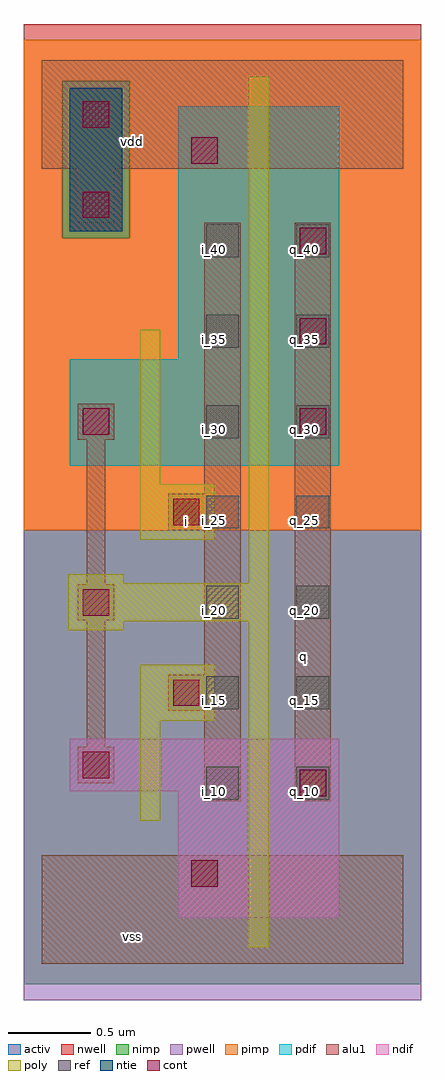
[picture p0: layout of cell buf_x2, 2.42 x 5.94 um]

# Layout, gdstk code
import gdstk
lib = gdstk.Library(unit=1e-6, precision=2.5e-09)
def R(c, l, rs):  # rectangles x0, y0, x1, y1
    for r in rs: c.add(gdstk.rectangle(r[:2], r[2:], *l))
def A(c, l, x, y, w, h, nx, ny, dx, dy):  # array of equal rectangles
    R(c, l, [(x+i*dx, y+j*dy, x+i*dx+w, y+j*dy+h) for i in range(nx) for j in range(ny)])
ndif = (3, 0)
pdif = (4, 0)
ntie = (5, 0)
ref = (24, 0)
cont = (25, 0)
pwell = (41, 0)
nwell = (42, 0)
activ = (43, 0)
pimp = (44, 0)
nimp = (45, 0)
poly = (46, 0)
alu1 = (49, 0)

buf_x2 = lib.new_cell('buf_x2')
R(buf_x2, ndif, [(0.83,0.28,1.81,1.05), (0.83,0.28,1.81,1.05), (0.17,1.05,1.81,1.37), (0.17,1.05,1.81,1.37)])
R(buf_x2, pdif, [(0.17,3.03,1.81,3.68), (0.17,3.03,1.81,3.68), (0.83,3.68,1.81,5.22), (0.83,3.68,1.81,5.22)])
R(buf_x2, ntie, [(0.17,4.46,0.49,5.33), (0.17,4.46,0.49,5.33)])
A(buf_x2, ref, 1, 1, 0.2, 0.2, 1, 7, 0, 0.55)
A(buf_x2, ref, 1.55, 1, 0.2, 0.2, 1, 7, 0, 0.55)
A(buf_x2, cont, 1.57, 3.22, 0.16, 0.16, 1, 3, 0, 0.55)
R(buf_x2, cont, [(0.91,0.47,1.07,0.63), (1.57,1.02,1.73,1.18), (0.25,1.13,0.41,1.29), (0.8,1.57,0.96,1.73), (0.25,2.12,0.41,2.28), (0.8,2.67,0.96,2.83), (0.25,3.22,0.41,3.38), (0.25,4.54,0.41,4.7), (0.91,4.87,1.07,5.03), (0.25,5.09,0.41,5.25)])
R(buf_x2, pwell, [(-0.11,-0.22,2.31,2.64)])
R(buf_x2, nwell, [(-0.11,2.64,2.31,5.72)])
R(buf_x2, activ, [(0.83,0.28,1.81,1.05), (0.83,0.28,1.81,1.05), (0.17,1.05,1.81,1.37), (0.17,1.05,1.81,1.37), (0.17,3.03,1.81,3.68), (0.17,3.03,1.81,3.68), (0.83,3.68,1.81,5.22), (0.83,3.68,1.81,5.22), (0.17,4.46,0.49,5.33), (0.17,4.46,0.49,5.33)])
R(buf_x2, pimp, [(-0.11,2.64,2.31,4.415), (-0.11,4.415,0.125,5.375), (0.535,4.415,2.31,5.375), (-0.11,5.375,2.31,5.625)])
R(buf_x2, nimp, [(-0.11,-0.125,2.31,2.64), (0.125,4.415,0.535,5.375)])
R(buf_x2, poly, [(1.26,0.1,1.38,2.085), (0.6,0.87,0.72,1.48), (0.6,1.48,1.05,1.82), (0.16,2.03,0.5,2.085), (0.16,2.085,1.38,2.315), (0.16,2.315,0.5,2.37), (1.26,2.315,1.38,5.4), (0.6,2.58,1.05,2.92), (0.6,2.92,0.72,3.86)])
R(buf_x2, alu1, [(0,0,2.2,0.66), (0.99,0.99,1.21,1.54), (1.54,0.99,1.76,4.51), (0.22,1.1,0.44,1.32), (0.275,1.32,0.385,2.09), (0.77,1.54,1.21,1.76), (0.99,1.76,1.21,2.64), (0.22,2.09,0.44,2.31), (0.275,2.31,0.385,3.19), (0.77,2.64,1.21,2.86), (0.99,2.86,1.21,4.51), (0.22,3.19,0.44,3.41), (0.22,4.51,0.44,4.84), (0,4.84,2.2,5.5)])
buf_x2.add(gdstk.Label('vss', (0.55,0.165), layer=49, texttype=0))
buf_x2.add(gdstk.Label('q', (1.595,1.87), layer=49, texttype=0))
buf_x2.add(gdstk.Label('i', (0.88,2.695), layer=49, texttype=0))
buf_x2.add(gdstk.Label('vdd', (0.55,5.005), layer=49, texttype=0))
buf_x2.add(gdstk.Label('i_10', (1.05,1.05), layer=24, texttype=0))
buf_x2.add(gdstk.Label('i_15', (1.05,1.6), layer=24, texttype=0))
buf_x2.add(gdstk.Label('q_10', (1.6,1.05), layer=24, texttype=0))
buf_x2.add(gdstk.Label('q_25', (1.6,2.7), layer=24, texttype=0))
buf_x2.add(gdstk.Label('q_15', (1.6,1.6), layer=24, texttype=0))
buf_x2.add(gdstk.Label('q_40', (1.6,4.35), layer=24, texttype=0))
buf_x2.add(gdstk.Label('q_35', (1.6,3.8), layer=24, texttype=0))
buf_x2.add(gdstk.Label('q_30', (1.6,3.25), layer=24, texttype=0))
buf_x2.add(gdstk.Label('q_20', (1.6,2.15), layer=24, texttype=0))
buf_x2.add(gdstk.Label('i_40', (1.05,4.35), layer=24, texttype=0))
buf_x2.add(gdstk.Label('i_35', (1.05,3.8), layer=24, texttype=0))
buf_x2.add(gdstk.Label('i_30', (1.05,3.25), layer=24, texttype=0))
buf_x2.add(gdstk.Label('i_25', (1.05,2.7), layer=24, texttype=0))
buf_x2.add(gdstk.Label('i_20', (1.05,2.15), layer=24, texttype=0))

lib.write_gds('buf_x2.gds')
